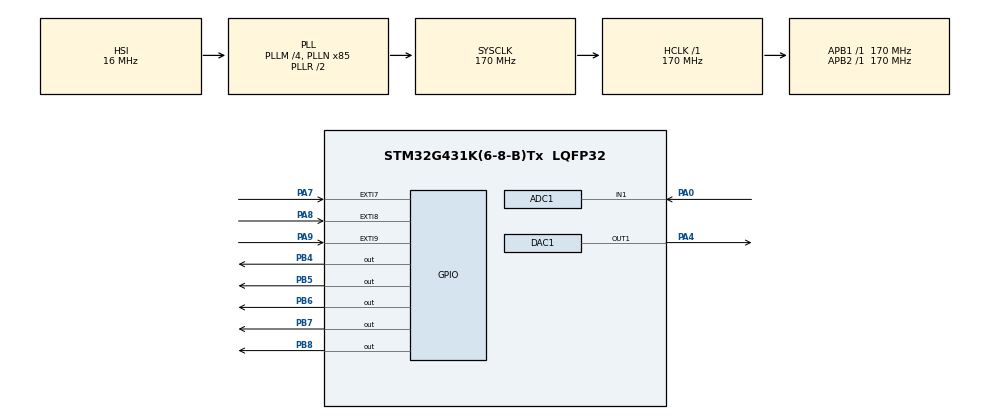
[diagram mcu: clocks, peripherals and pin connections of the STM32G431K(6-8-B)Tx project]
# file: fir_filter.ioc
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ADC1.Channel-0\#ChannelRegularConversion=ADC_CHANNEL_1
ADC1.DMAContinuousRequests=ENABLE
ADC1.ExternalTrigConv=ADC_EXTERNALTRIG_T7_TRGO
ADC1.NbrOfConversionFlag=1
ADC1.OffsetNumber-0\#ChannelRegularConversion=ADC_OFFSET_NONE
ADC1.Rank-0\#ChannelRegularConversion=1
ADC1.SamplingTime-0\#ChannelRegularConversion=ADC_SAMPLETIME_2CYCLES_5
ADC1.master=1
DAC1.DAC_Trigger_OUT1-DAC_OUT1=DAC_TRIGGER_T7_TRGO
Dma.ADC1.0.Direction=DMA_PERIPH_TO_MEMORY
Dma.ADC1.0.EventEnable=DISABLE
Dma.ADC1.0.Instance=DMA1_Channel1
Dma.ADC1.0.MemDataAlignment=DMA_MDATAALIGN_WORD
Dma.ADC1.0.MemInc=DMA_MINC_ENABLE
Dma.ADC1.0.Mode=DMA_CIRCULAR
Dma.ADC1.0.PeriphDataAlignment=DMA_PDATAALIGN_HALFWORD
Dma.ADC1.0.PeriphInc=DMA_PINC_DISABLE
Dma.ADC1.0.Polarity=HAL_DMAMUX_REQ_GEN_RISING
Dma.ADC1.0.Priority=DMA_PRIORITY_LOW
Dma.ADC1.0.RequestNumber=1
Dma.ADC1.0.SignalID=NONE
Dma.ADC1.0.SyncEnable=DISABLE
Dma.ADC1.0.SyncPolarity=HAL_DMAMUX_SYNC_NO_EVENT
Dma.ADC1.0.SyncRequestNumber=1
Dma.ADC1.0.SyncSignalID=NONE
Dma.DAC1_CH1.1.Direction=DMA_MEMORY_TO_PERIPH
Dma.DAC1_CH1.1.EventEnable=DISABLE
Dma.DAC1_CH1.1.Instance=DMA1_Channel2
Dma.DAC1_CH1.1.MemDataAlignment=DMA_MDATAALIGN_WORD
Dma.DAC1_CH1.1.MemInc=DMA_MINC_ENABLE
Dma.DAC1_CH1.1.Mode=DMA_CIRCULAR
Dma.DAC1_CH1.1.PeriphDataAlignment=DMA_PDATAALIGN_WORD
Dma.DAC1_CH1.1.PeriphInc=DMA_PINC_DISABLE
Dma.DAC1_CH1.1.Polarity=HAL_DMAMUX_REQ_GEN_RISING
Dma.DAC1_CH1.1.Priority=DMA_PRIORITY_LOW
Dma.DAC1_CH1.1.RequestNumber=1
Dma.DAC1_CH1.1.SignalID=NONE
Dma.DAC1_CH1.1.SyncEnable=DISABLE
Dma.DAC1_CH1.1.SyncPolarity=HAL_DMAMUX_SYNC_NO_EVENT
Dma.DAC1_CH1.1.SyncRequestNumber=1
Dma.DAC1_CH1.1.SyncSignalID=NONE
Dma.Request0=ADC1
Dma.Request1=DAC1_CH1
Mcu.Family=STM32G4
Mcu.Name=STM32G431K(6-8-B)Tx
Mcu.Package=LQFP32
NUCLEO-G431KB.Bsp_Common_DEMO=true
NUCLEO-G431KB.LD2=true
NUCLEO-G431KB.VCP=true
NVIC.DMA1_Channel1_IRQn=true\:0\:0\:false\:false\:true\:false\:true\:true
NVIC.DMA1_Channel2_IRQn=true\:0\:0\:false\:false\:true\:false\:true\:true
NVIC.EXTI9_5_IRQn=true\:0\:0\:false\:false\:true\:true\:true\:true
NVIC.PriorityGroup=NVIC_PRIORITYGROUP_4
NVIC.TIM2_IRQn=true\:0\:0\:false\:false\:true\:true\:true\:true
NVIC.TIM7_IRQn=true\:0\:0\:false\:false\:true\:true\:true\:true
PA0.Mode=IN1-Single-Ended
PA0.Signal=ADC1_IN1
PA13.GPIO_Label=T_SWDIO
PA13.Signal=SYS_JTMS-SWDIO
PA14.GPIO_Label=T_SWCLK
PA14.Signal=SYS_JTCK-SWCLK
PA2.Signal=USART2_TX
PA3.Signal=USART2_RX
PA4.Signal=COMP_DAC11_group
PA7.Signal=GPXTI7
PA8.Signal=GPXTI8
PA9.Signal=GPXTI9
PB3.GPIO_Label=T_SWO
PB3.Signal=SYS_JTDO-SWO
PB4.Signal=GPIO_Output
PB5.Signal=GPIO_Output
PB6.Signal=GPIO_Output
PB7.Signal=GPIO_Output
PB8-BOOT0.Signal=GPIO_Output
ProjectManager.HeapSize=0x200
ProjectManager.StackSize=0x400
ProjectManager.TargetToolchain=STM32CubeIDE
RCC.ADC12Freq_Value=170000000
RCC.AHBFreq_Value=170000000
RCC.APB1Freq_Value=170000000
RCC.APB1TimFreq_Value=170000000
RCC.APB2Freq_Value=170000000
RCC.APB2TimFreq_Value=170000000
RCC.CortexFreq_Value=170000000
RCC.EXTERNAL_CLOCK_VALUE=12288000
RCC.HCLKFreq_Value=170000000
RCC.HSE_VALUE=8000000
RCC.HSI48_VALUE=48000000
RCC.HSI_VALUE=16000000
RCC.LSE_VALUE=32768
RCC.PLLM=RCC_PLLM_DIV4
RCC.PLLN=85
RCC.SYSCLKFreq_VALUE=170000000
RCC.SYSCLKSource=RCC_SYSCLKSOURCE_PLLCLK
RCC.USBFreq_Value=170000000
RCC.VCOOutputFreq_Value=340000000
SH.COMP_DAC11_group.0=DAC1_OUT1,DAC_OUT1
STMicroelectronics.X-CUBE-ALGOBUILD.1.4.0.LibraryCcDSPOoLibraryJjDSPOoLibrary=true
TIM2.ClockDivision=TIM_CLOCKDIVISION_DIV2
TIM2.PeriodNoDither=8520
TIM2.Prescaler=502
TIM7.PeriodNoDither=109
TIM7.Prescaler=17-1
TIM7.TIM_MasterOutputTrigger=TIM_TRGO_UPDATE
VP_NUCLEO-G431KB_VS_BSP_COMMON.Mode=COMMON
VP_STMicroelectronics.X-CUBE-ALGOBUILD_VS_DSPOoLibraryJjLibrary_1.4.0_1.4.0.Mode=DSPOoLibraryJjLibrary
VP_SYS_VS_DBSignals.Mode=DisableDeadBatterySignals
VP_TIM2_VS_ClockSourceINT.Mode=Internal
VP_TIM7_VS_ClockSourceINT.Mode=Enable_Timer
board=NUCLEO-G431KB

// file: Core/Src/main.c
/* USER CODE BEGIN Header */
/**
  ******************************************************************************
  * @file           : main.c
  * @brief          : Main program body
  ******************************************************************************
  * @attention
  *
  * Copyright (c) 2025 STMicroelectronics.
  * All rights reserved.
  *
  * This software is licensed under terms that can be found in the LICENSE file
  * in the root directory of this software component.
  * If no LICENSE file comes with this software, it is provided AS-IS.
  *
  ******************************************************************************
  */
/* USER CODE END Header */
#include "main.h"
#include "adc.h"
#include "dac.h"
#include "dma.h"
#include "tim.h"
#include "gpio.h"

/* USER CODE BEGIN Includes */
#include "arm_math.h"
/* USER CODE END Includes */

/* USER CODE BEGIN PD */
// Size of the ADC/DAC buffers
#define		N			32
#define		halfN		16

// Timer 7 frequency : F_T7 = F_CLK / [(PSC + 1) (ARR + 1) (PSC_APB)
//		F_CLK = 170 MHz
//		PSC_APB = 1
//		PSC = 16		-> F_IN = 10 MHz
// 		for F_T7 = 20 kHz -->  ARR = 10 MHz / 20 kHz - 1 = 499
#define		PSC			16
#define		ARR			499

/* USER CODE END PD */

COM_InitTypeDef BspCOMInit;

/* USER CODE BEGIN PV */
// ADC and DAC buffers
uint32_t 	adc_buffer[N];
uint32_t 	dac_buffer[N];

float32_t	filt_in[N];
float32_t	filt_out[N];
float32_t	*filt_in_ptr = &filt_in[0];
float32_t	*filt_out_ptr = &filt_out[0];

/*
FIR filter designed with
http://t-filter.appspot.com

sampling frequency: 20000 Hz

* 0 Hz - 1000 Hz
  gain = 0
  desired attenuation = -40 dB
  actual attenuation = -40.2718433804187 dB

* 2000 Hz - 3500 Hz
  gain = 1
  desired ripple = 1 dB
  actual ripple = 0.728832119760362 dB

* 4500 Hz - 10000 Hz
  gain = 0
  desired attenuation = -40 dB
  actual attenuation = -40.2718433804187 dB

*/

#define 	FILTER_TAP_NUM	31
float32_t filter_taps[FILTER_TAP_NUM] = {
  -0.014269730685815782,
  -0.01810443657842748,
  -0.005766073703476036,
  0.018399368185851486,
  0.030172324445735456,
  0.01678007293633375,
  -0.0004755959399820885,
  0.010031041804741908,
  0.04007084376247264,
  0.03463723639519255,
  -0.04304077820456944,
  -0.1437574784087499,
  -0.15841257479491958,
  -0.033189465735796696,
  0.15079092849525755,
  0.2382378851480237,
  0.15079092849525755,
  -0.033189465735796696,
  -0.15841257479491958,
  -0.1437574784087499,
  -0.04304077820456944,
  0.03463723639519255,
  0.04007084376247264,
  0.010031041804741908,
  -0.0004755959399820885,
  0.01678007293633375,
  0.030172324445735456,
  0.018399368185851486,
  -0.005766073703476036,
  -0.01810443657842748,
  -0.014269730685815782
};

arm_fir_instance_f32	filter1;
float32_t	State[halfN + FILTER_TAP_NUM - 1];

/* USER CODE END PV */

void SystemClock_Config(void);
/* USER CODE BEGIN PFP */
void ADC_DAC_frequency_init(void);
/* USER CODE END PFP */

int main(void)
{

  /* MCU Configuration--------------------------------------------------------*/

  /* Reset of all peripherals, Initializes the Flash interface and the Systick. */
  HAL_Init();

  /* Configure the system clock */
  SystemClock_Config();

  /* Initialize all configured peripherals */
  MX_GPIO_Init();
  MX_DMA_Init();
  MX_ADC1_Init();
  MX_DAC1_Init();
  MX_TIM2_Init();
  MX_TIM7_Init();
  /* USER CODE BEGIN 2 */

  ADC_DAC_frequency_init();
  // Initialization of ADC and DAC
  HAL_ADC_Start_DMA(&hadc1, adc_buffer, N);
  HAL_DAC_Start_DMA(&hdac1, DAC_CHANNEL_1, dac_buffer, N, DAC_ALIGN_12B_R);
  HAL_TIM_Base_Start(&htim7);
  arm_fir_init_f32(&filter1, FILTER_TAP_NUM, &filter_taps[0], &State[0], halfN);

  /* USER CODE END 2 */

  /* Initialize leds */
  BSP_LED_Init(LED_GREEN);

  /* Initialize COM1 port (115200, 8 bits (7-bit data + 1 stop bit), no parity */
  BspCOMInit.BaudRate   = 115200;
  BspCOMInit.WordLength = COM_WORDLENGTH_8B;
  BspCOMInit.StopBits   = COM_STOPBITS_1;
  BspCOMInit.Parity     = COM_PARITY_NONE;
  BspCOMInit.HwFlowCtl  = COM_HWCONTROL_NONE;
  if (BSP_COM_Init(COM1, &BspCOMInit) != BSP_ERROR_NONE)
  {
    Error_Handler();
  }

  /* USER CODE BEGIN BSP */

  /* -- Sample board code to send message over COM1 port ---- */
  printf("Welcome to STM32 world !\n\r");

  /* -- Sample board code to switch on leds ---- */
  BSP_LED_On(LED_GREEN);

  /* USER CODE END BSP */

  /* Infinite loop */
  /* USER CODE BEGIN WHILE */
  while (1)
  {

/* -- Sample board code to toggle leds ---- */
       BSP_LED_Toggle(LED_GREEN);

    /* USER CODE END WHILE */

  }
}

void SystemClock_Config(void)
{
  RCC_OscInitTypeDef RCC_OscInitStruct = {0};
  RCC_ClkInitTypeDef RCC_ClkInitStruct = {0};

  /** Configure the main internal regulator output voltage
  */
  HAL_PWREx_ControlVoltageScaling(PWR_REGULATOR_VOLTAGE_SCALE1_BOOST);

  /** Initializes the RCC Oscillators according to the specified parameters
  * in the RCC_OscInitTypeDef structure.
  */
  RCC_OscInitStruct.OscillatorType = RCC_OSCILLATORTYPE_HSI;
  RCC_OscInitStruct.HSIState = RCC_HSI_ON;
  RCC_OscInitStruct.HSICalibrationValue = RCC_HSICALIBRATION_DEFAULT;
  RCC_OscInitStruct.PLL.PLLState = RCC_PLL_ON;
  RCC_OscInitStruct.PLL.PLLSource = RCC_PLLSOURCE_HSI;
  RCC_OscInitStruct.PLL.PLLM = RCC_PLLM_DIV4;
  RCC_OscInitStruct.PLL.PLLN = 85;
  RCC_OscInitStruct.PLL.PLLP = RCC_PLLP_DIV2;
  RCC_OscInitStruct.PLL.PLLQ = RCC_PLLQ_DIV2;
  RCC_OscInitStruct.PLL.PLLR = RCC_PLLR_DIV2;
  if (HAL_RCC_OscConfig(&RCC_OscInitStruct) != HAL_OK)
  {
    Error_Handler();
  }

  /** Initializes the CPU, AHB and APB buses clocks
  */
  RCC_ClkInitStruct.ClockType = RCC_CLOCKTYPE_HCLK|RCC_CLOCKTYPE_SYSCLK
                              |RCC_CLOCKTYPE_PCLK1|RCC_CLOCKTYPE_PCLK2;
  RCC_ClkInitStruct.SYSCLKSource = RCC_SYSCLKSOURCE_PLLCLK;
  RCC_ClkInitStruct.AHBCLKDivider = RCC_SYSCLK_DIV1;
  RCC_ClkInitStruct.APB1CLKDivider = RCC_HCLK_DIV1;
  RCC_ClkInitStruct.APB2CLKDivider = RCC_HCLK_DIV1;

  if (HAL_RCC_ClockConfig(&RCC_ClkInitStruct, FLASH_LATENCY_4) != HAL_OK)
  {
    Error_Handler();
  }
}

/* USER CODE BEGIN 4 */
// ISR for ADC and DAC conversion
void HAL_ADC_ConvHalfCpltCallback(ADC_HandleTypeDef* hadc){
	for(int n=0; n<halfN; n++){ filt_in[n] = (float32_t) adc_buffer[n] - 2048; }
	arm_fir_f32(&filter1, filt_in_ptr, filt_out_ptr, halfN);
	for(int n=0; n<halfN; n++){ dac_buffer[n] = (float32_t) filt_out[n] + 2048; }
}

void HAL_ADC_ConvCpltCallback(ADC_HandleTypeDef* hadc){
	for(int n=halfN; n<N; n++){ filt_in[n] = (float32_t) adc_buffer[n] - 2048; }
	arm_fir_f32(&filter1, filt_in_ptr + halfN, filt_out_ptr + halfN, halfN);
	for(int n=halfN; n<N; n++){ dac_buffer[n] = (float32_t) filt_out[n] + 2048; }
}

void ADC_DAC_frequency_init(void)
{
  TIM_MasterConfigTypeDef sMasterConfig = {0};
  htim7.Instance = TIM7;
  htim7.Init.Prescaler = PSC;
  htim7.Init.CounterMode = TIM_COUNTERMODE_UP;
  htim7.Init.Period = ARR;
  htim7.Init.AutoReloadPreload = TIM_AUTORELOAD_PRELOAD_DISABLE;
  if (HAL_TIM_Base_Init(&htim7) != HAL_OK)
  {
    Error_Handler();
  }
  sMasterConfig.MasterOutputTrigger = TIM_TRGO_UPDATE;
  sMasterConfig.MasterSlaveMode = TIM_MASTERSLAVEMODE_DISABLE;
  if (HAL_TIMEx_MasterConfigSynchronization(&htim7, &sMasterConfig) != HAL_OK)
  {
    Error_Handler();
  }

}

/* USER CODE END 4 */

/* USER CODE BEGIN Header */
/**
  ******************************************************************************
  * @file           : main.c
  * @brief          : Main program body
  ******************************************************************************
  * @attention
  *
  * Copyright (c) 2025 STMicroelectronics.
  * All rights reserved.
  *
  * This software is licensed under terms that can be found in the LICENSE file
  * in the root directory of this software component.
  * If no LICENSE file comes with this software, it is provided AS-IS.
  *
  ******************************************************************************
  */
/* USER CODE END Header */

void Error_Handler(void)
{
  __disable_irq();
  while (1)
  {
  }
}
